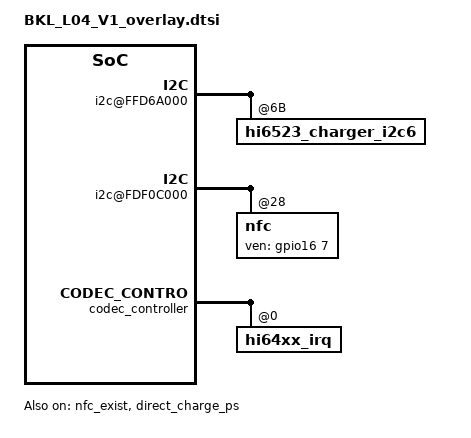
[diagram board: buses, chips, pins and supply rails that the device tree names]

/**
 * Copyright (C) 2014 Hisilicon Ltd.
 *
 *  This program is free software; you can redistribute it and/or modify
 *  it under the terms of the GNU General Public License version 2 as
 *  publishhed by the Free Software Foundation.
 */

/include/ "BKL_L09_DELETE9688_VN2_overlay.dtsi"

/ {
	board_id = <6921>;
};

&rootparam {
    hisi,boardid = <6 9 2 1>;
    hisi,boardname = "BKL_L04_V1";
};

	&huawei_lcd_panel {
		gpio_id = <9 8>;
		gpio_cfg_addr = <0xE896CF04 0xE896CF00>;
		product_id = <3003>;
	};
&amba {
	i2c@FFD6A000 {
		hi6523_charger_i2c6@6B{
			status = "ok";
		};
	};
};

&amba {
	i2c@FDF0C000 {
		nfc@28 {
			pn547,ven = <&gpio16 7 0>;
			pinctrl-names = "default","idle";
			pinctrl-0 = <&gpio135_pmx_func &gpio201_pmx_func &gpio030_cfg_func &gpio135_cfg_func &gpio201_cfg_func>;
			pinctrl-1 = <&gpio135_pmx_idle &gpio201_pmx_idle &gpio030_cfg_idle &gpio135_cfg_idle &gpio201_cfg_idle>;
		};
	};
};

	&nfc_exist {
		hisee_exist_flag = "0";
		status = "ok";
	};

	&direct_charge_ps {
		bst_ctrl = <&gpio28 4 0>;
		status = "ok";
	};
/**disable hisi1102 config*/
	&hi1102 {
		status = "disabled";
	};
	&hisi_wifi {
		status = "disabled";
	};
	&hisi_bfgx {
		status = "disabled";
	};
	&hisi_cust_cfg {
		status = "disabled";
	};
	&hisi_gps {
		status = "disabled";
	};
	/** disable hisi 1102 config*/

	&gps_power{
		broadcom_config,ic_type="bcm4774";
	};
	&hw_connectivity {
		chip_type = "bcm43xx";
	};
	/** irda config begin*/
	&irda {
		irda,chiptype = <3>;		/*hi6403*/
	};
	&audio_hw_config {
		analog_earpiece_enable = "true";
		audio_capability {
			irda_support = "true";
			irda_dly = "50000";/*default delay 50000us*/
			irda_temp_th = "10000";/*set temperature threshold 10 degree*/
		};
	};
	&codec_controller {
		hi64xx_irq: hi64xx_irq@0 {
			hi6403_codec: hi6403_codec@0{
				hisilicon,ir_gpio=<&gpio17 1 0>;
			};
		};
	};
/**irda config end*/

